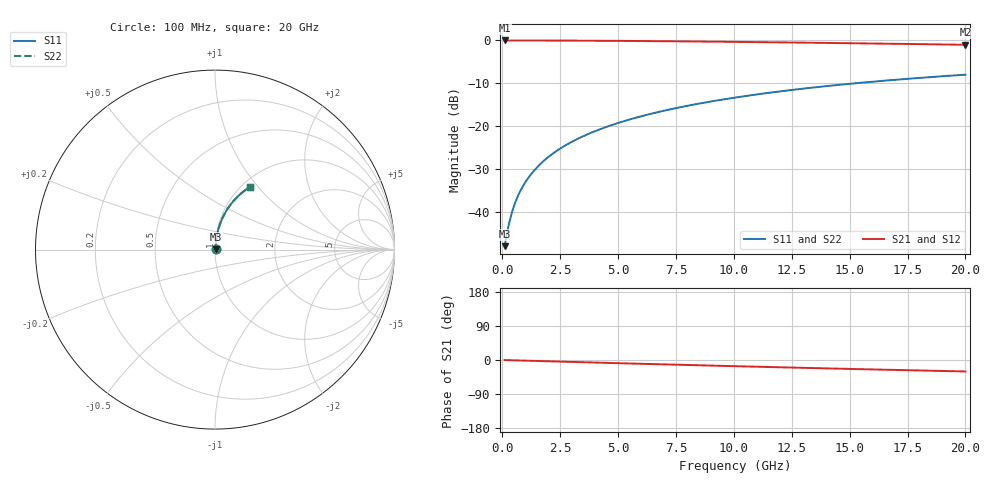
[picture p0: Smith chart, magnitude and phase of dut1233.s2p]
! Touchstone file exported from HFSS 2024.1.0
!  File:  C:/UserFiles/LocalFiles/RDL_TSV_Batchsim/temp_RDL_top_1233_1780240740.aedt
!  Generated:  11:21:29 PM May 31, 2026
!  Design:  RDL_top
!  Project:  temp_RDL_top_1233_1780240740
!  Setup:  Setup1
!  Solution:  Sweep
! Variables:
!  dtsv = 10.80580581um
!  hbump = 3um
!  htsv = 58.95um
!  ldown = 100um
!  lrdl = 323.67um
!  p = 40
!  p1 = 56.17um
!  rhole = 1um
!  t = 450um
!  tdown = 3.915915916um
!  trdl = 3.57um
!  wdown = 15.38538539um
!  wrdl = 10.03um
# GHz S MA R 50.000000
! Terminal data exported
! Port[1] = Box2_T1
! Port[2] = Box2_T2
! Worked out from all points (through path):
!   200 points, 100 MHz to 20 GHz, reference 50 ohm
!   highest |S21| = -0.03 dB at 100 MHz (marker M1); lowest = -1.0 dB at 20 GHz (marker M2)
!   group delay of S21, straight-line fit = 4.21 ps
!   lowest |S11| = -48.0 dB at 100 MHz (marker M3), VSWR 1.01, Z = 50.3 + j0.224 ohm
!   |S11| at or under -10 dB: start of sweep to 15.28 GHz
!   |S22| runs from -48.0 to -8.0 dB; largest |S21 - S12| = 3.7e-15
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0.1  0.003972 34.1  0.9967 -0.2  0.9967 -0.2  0.003972 34.1
! Gamma 0 0 0 0
! Port Impedance 50 0 50 0
0.2  0.005553 53.2  0.9967 -0.3  0.9967 -0.3  0.005553 53.2
0.3  0.007468 63.0  0.9966 -0.5  0.9966 -0.5  0.007468 63.0
0.4  0.009506 68.6  0.9966 -0.7  0.9966 -0.7  0.009506 68.6
0.5  0.0116 72.2  0.9965 -0.9  0.9965 -0.9  0.0116 72.2
0.6  0.01371 74.6  0.9964 -1.0  0.9964 -1.0  0.01371 74.6
0.8  0.01797 77.6  0.9962 -1.4  0.9962 -1.4  0.01797 77.6
1.1  0.0244 80.0  0.9959 -1.9  0.9959 -1.9  0.0244 80.0
1.5  0.03301 81.6  0.9954 -2.6  0.9954 -2.6  0.03301 81.6
1.8  0.03949 82.1  0.9949 -3.1  0.9949 -3.1  0.03949 82.1
2.1  0.04597 82.5  0.9944 -3.6  0.9944 -3.6  0.04597 82.4
2.7  0.05895 82.6  0.9931 -4.6  0.9931 -4.6  0.05895 82.6
3.5  0.07626 82.2  0.991 -5.9  0.991 -5.9  0.07626 82.2
4.2  0.09139 81.7  0.9887 -7.1  0.9887 -7.1  0.09139 81.7
5  0.1086 80.9  0.9858 -8.4  0.9858 -8.4  0.1086 80.9
5.9  0.1279 79.9  0.982 -9.9  0.982 -9.9  0.1279 79.8
6.8  0.1471 78.7  0.9778 -11.3  0.9778 -11.3  0.1471 78.7
8.3  0.1787 76.8  0.9699 -13.7  0.9699 -13.7  0.1787 76.8
10.1  0.2159 74.3  0.9594 -16.4  0.9594 -16.4  0.2159 74.3
13.4  0.2811 69.8  0.9375 -21.3  0.9375 -21.3  0.2811 69.8
16.7  0.3418 65.3  0.9133 -25.9  0.9133 -25.9  0.3418 65.3
20  0.3975 61.0  0.8876 -30.3  0.8876 -30.3  0.3974 61.0
